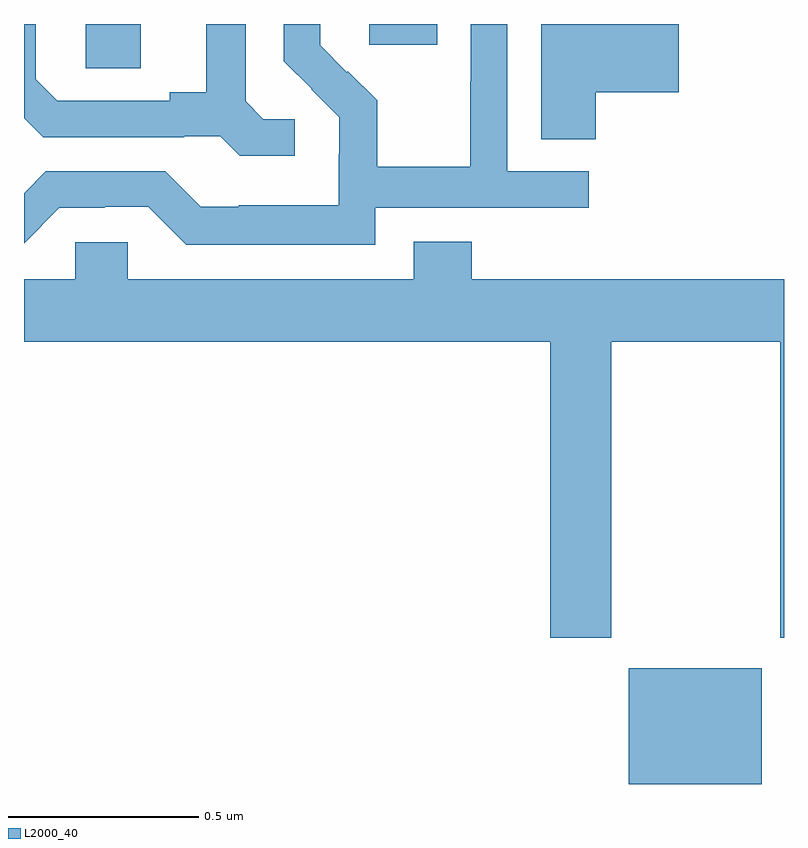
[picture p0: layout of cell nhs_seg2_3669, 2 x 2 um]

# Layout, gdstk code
import gdstk
lib = gdstk.Library(unit=1e-6, precision=1e-09)
def R(c, l, rs):  # rectangles x0, y0, x1, y1
    for r in rs: c.add(gdstk.rectangle(r[:2], r[2:], *l))
def P(c, l, *ps):  # polygons
    for p in ps: c.add(gdstk.Polygon(p, *l))
L2000_40 = (2000, 40)

nhs_seg2_3669 = lib.new_cell('nhs_seg2_3669')
R(nhs_seg2_3669, L2000_40, [(157.592,651.8,157.942,652.105), (156.162,653.683,156.307,653.8), (156.908,653.745,157.087,653.8)])
P(nhs_seg2_3669, L2000_40, [(156.924,653.316),(157.486,653.316),(157.486,653.412),(157.272,653.412),(157.272,653.8),(157.176,653.8),(157.176,653.648),(157.174,653.648),(157.174,653.425),(156.929,653.425),(156.929,653.599),(156.852,653.676),(156.849,653.673),(156.779,653.744),(156.779,653.8),(156.684,653.8),(156.684,653.702),(156.757,653.629),(156.756,653.628),(156.83,653.554),(156.83,653.457),(156.828,653.457),(156.828,653.323),(156.565,653.323),(156.565,653.319),(156.465,653.319),(156.372,653.412),(156.057,653.412),(156,653.355),(156,653.223),(156.093,653.316),(156.212,653.316),(156.212,653.319),(156.327,653.319),(156.427,653.219),(156.924,653.219)],
  [(157.505,653.621),(157.723,653.621),(157.723,653.8),(157.361,653.8),(157.361,653.497),(157.505,653.497)],
  [(156.712,653.55),(156.63,653.55),(156.583,653.597),(156.583,653.8),(156.479,653.8),(156.479,653.621),(156.383,653.621),(156.383,653.598),(156.088,653.598),(156.031,653.655),(156.031,653.8),(156,653.8),(156,653.552),(156.05,653.502),(156.422,653.502),(156.422,653.505),(156.516,653.505),(156.568,653.453),(156.712,653.453)],
  [(157.545,652.964),(157.99,652.964),(157.99,652.185),(158,652.185),(158,653.128),(157.178,653.128),(157.178,653.227),(157.025,653.227),(157.025,653.128),(156.273,653.128),(156.273,653.226),(156.135,653.226),(156.135,653.128),(156,653.128),(156,652.964),(157.385,652.964),(157.385,652.185),(157.545,652.185)])

lib.write_gds('nhs_seg2_3669.gds')
